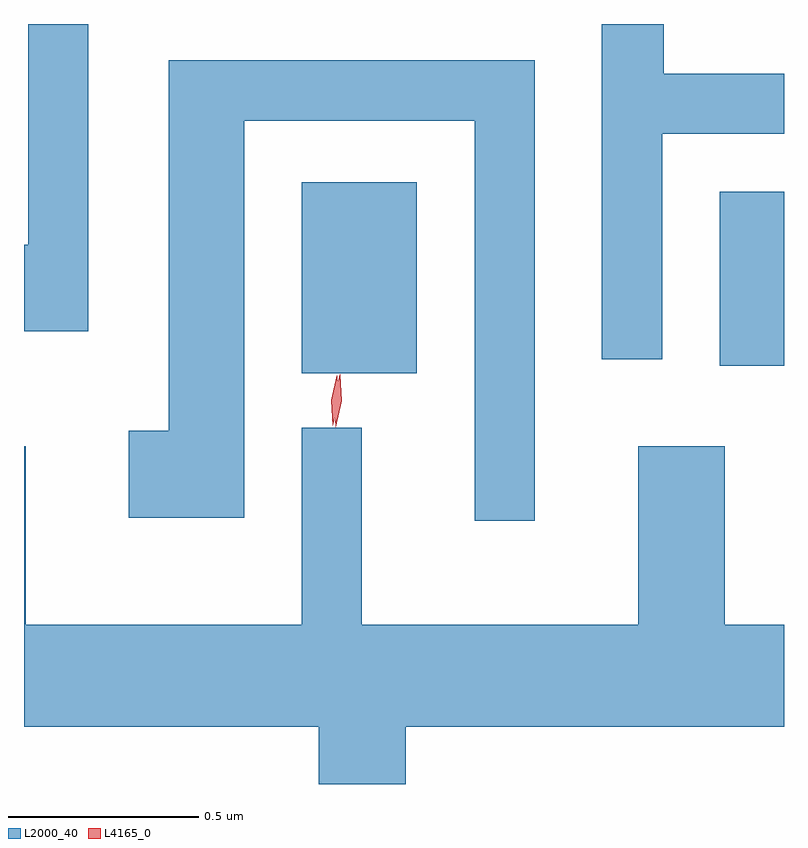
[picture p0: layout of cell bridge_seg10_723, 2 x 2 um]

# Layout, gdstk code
import gdstk
lib = gdstk.Library(unit=1e-6, precision=1e-09)
def R(c, l, rs):  # rectangles x0, y0, x1, y1
    for r in rs: c.add(gdstk.rectangle(r[:2], r[2:], *l))
def P(c, l, *ps):  # polygons
    for p in ps: c.add(gdstk.Polygon(p, *l))
L2000_40 = (2000, 40)
L4165_0 = (4165, 0)

bridge_seg10_723 = lib.new_cell('bridge_seg10_723')
R(bridge_seg10_723, L2000_40, [(882.386,2143.706,882.689,2144.209), (883.486,2143.726,883.655,2144.184)])
P(bridge_seg10_723, L2000_40, [(881.824,2144.625),(881.666,2144.625),(881.666,2144.044),(881.655,2144.044),(881.655,2143.816),(881.824,2143.816)],
  [(883.334,2144.336),(883.655,2144.336),(883.655,2144.494),(883.339,2144.494),(883.339,2144.625),(883.176,2144.625),(883.176,2143.743),(883.334,2143.743)],
  [(882.999,2144.529),(882.036,2144.529),(882.036,2143.554),(881.931,2143.554),(881.931,2143.326),(882.234,2143.326),(882.234,2144.371),(882.841,2144.371),(882.841,2143.318),(882.999,2143.318)],
  [(882.659,2142.776),(883.655,2142.776),(883.655,2143.044),(883.499,2143.044),(883.499,2143.514),(883.271,2143.514),(883.271,2143.044),(882.544,2143.044),(882.544,2143.563),(882.386,2143.563),(882.386,2143.044),(881.659,2143.044),(881.659,2143.514),(881.655,2143.514),(881.655,2142.776),(882.431,2142.776),(882.431,2142.625),(882.659,2142.625)])
P(bridge_seg10_723, L4165_0, [(882.475,2143.564),(882.475,2143.564),(882.471,2143.634),(882.486,2143.702),(882.487,2143.703),(882.487,2143.702),(882.491,2143.633),(882.476,2143.564)],
  [(882.467,2143.568),(882.467,2143.568),(882.463,2143.635),(882.478,2143.7),(882.479,2143.7),(882.479,2143.7),(882.483,2143.633),(882.468,2143.568)])

lib.write_gds('bridge_seg10_723.gds')
